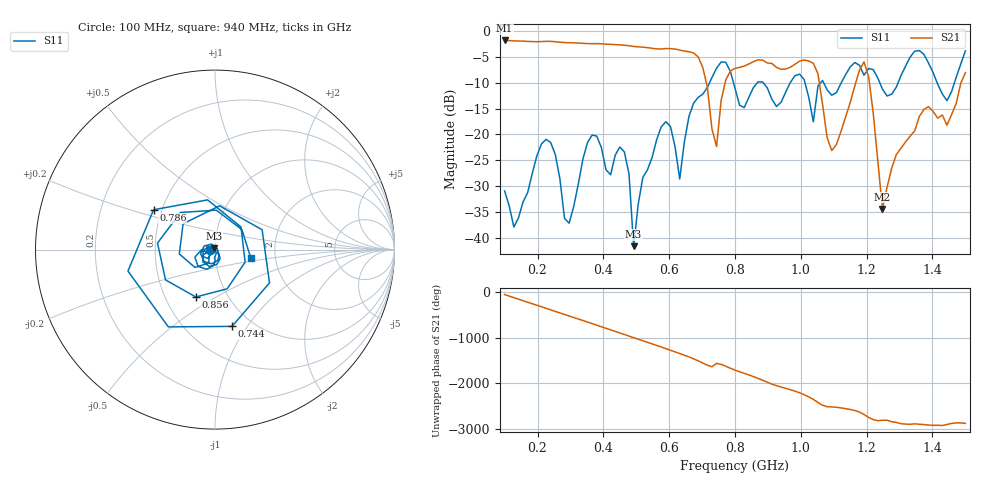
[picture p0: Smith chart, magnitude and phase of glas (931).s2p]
! NanoVNA-App
! Date: 2025-09-25 16:02:43
! Start: 100MHz Stop: 1,5GHz Points: 101
! S-Parameter data: F S11 S21 S12 S22
# Hz S RI R 50
!  Frequency  S11_Real  S11_Imag  S21_Real  S21_Imag  S12_Real  S12_Imag  S22_Real  S22_Imag
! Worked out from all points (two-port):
!   101 points, 100 MHz to 1.5 GHz, reference 50 ohm
!   highest |S21| = -1.80 dB at 100 MHz (marker M1); lowest = -34.4 dB at 1.248 GHz (marker M2)
!   |S21| within 3 dB of the highest: start of sweep to 684.6 MHz
!   lowest |S11| = -41.6 dB at 492 MHz (marker M3), VSWR 1.02, Z = 49.4 + j0.613 ohm
!   |S11| at or under -10 dB: start of sweep to 722.6 MHz; 795.5 MHz to 867.6 MHz (72.1 MHz wide, 8.67 % of centre); 886 MHz to 967.6 MHz (81.56 MHz wide, 8.8 % of centre) (the widest 3 of 7)
!   S12 and S22 are empty: the file has one direction only
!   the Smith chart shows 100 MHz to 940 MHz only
!   S11 on the Smith chart (normalised r, x): 100 MHz: 0.94, -0.01; 744 MHz: 0.81, -0.85; 786 MHz: 0.45, +0.24; 856 MHz: 0.71, -0.41; 940 MHz: 1.49, -0.15
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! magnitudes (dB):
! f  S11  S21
! 100 MHz  -30.9  -1.8
! 128 MHz  -37.9  -1.9
! 226 MHz  -20.9  -2.0
! 296 MHz  -37.2  -2.2
! 338 MHz  -24.7  -2.4
! 464 MHz  -23.4  -2.7
! 492 MHz  -41.6  -3.0
! 576 MHz  -18.5  -3.4
! 632 MHz  -28.6  -3.7
! 702 MHz  -12.2  -7.0
! 744 MHz  -7.2  -22.3
! 786 MHz  -7.8  -7.7
! 800 MHz  -11.1  -7.2
! 856 MHz  -10.9  -5.9
! 940 MHz  -13.8  -7.4
! 996 MHz  -8.3  -5.8
! 1.038 GHz  -17.5  -6.2
! 1.094 GHz  -12.4  -23.1
! 1.192 GHz  -8.5  -6.0
! 1.248 GHz  -11.2  -34.4
! 1.276 GHz  -12.2  -26.5
! 1.5 GHz  -3.8  -8.0
